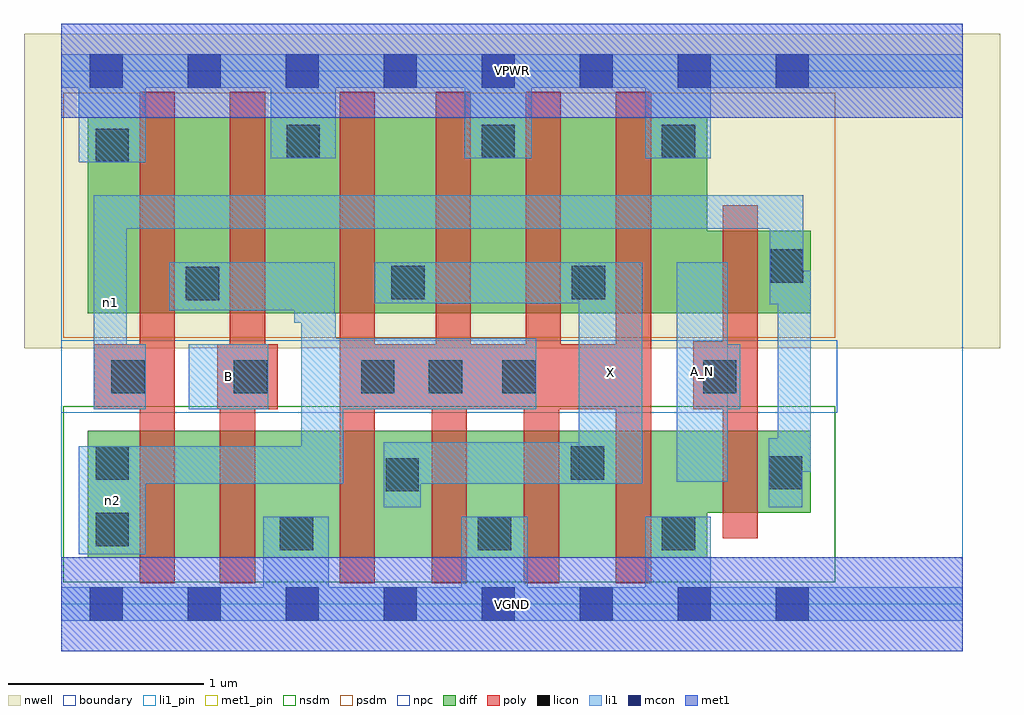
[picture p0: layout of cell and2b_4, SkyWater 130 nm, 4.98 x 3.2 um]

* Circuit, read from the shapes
.subckt and2b_4 A_N B VGND VPWR X n1 n2
XM1 n3 n1 n2 VSUBS sky130_fd_pr__nfet_01v8 w=0.65 l=0.18
XM2 VGND B n3 VSUBS sky130_fd_pr__nfet_01v8 w=0.65 l=0.18
XM3 X n2 VGND VSUBS sky130_fd_pr__nfet_01v8 w=0.65 l=0.18 m=4
XM4 n1 A_N VGND VSUBS sky130_fd_pr__nfet_01v8 w=0.42 l=0.18
XM5 n2 n1 VPWR n4 sky130_fd_pr__pfet_01v8 w=1 l=0.18
XM6 VPWR B n2 n4 sky130_fd_pr__pfet_01v8 w=1 l=0.18
XM7 X n2 VPWR n4 sky130_fd_pr__pfet_01v8 w=1 l=0.18 m=4
XM8 n1 A_N VPWR n4 sky130_fd_pr__pfet_01v8 w=0.42 l=0.18
.ends

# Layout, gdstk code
import gdstk
lib = gdstk.Library(unit=1e-6, precision=1e-09)
def R(c, l, rs):  # rectangles x0, y0, x1, y1
    for r in rs: c.add(gdstk.rectangle(r[:2], r[2:], *l))
def A(c, l, x, y, w, h, nx, ny, dx, dy):  # array of equal rectangles
    R(c, l, [(x+i*dx, y+j*dy, x+i*dx+w, y+j*dy+h) for i in range(nx) for j in range(ny)])
nwell = (64, 20)
diff = (65, 20)
poly = (66, 20)
licon = (66, 44)
li1_pin = (67, 16)
li1 = (67, 20)
mcon = (67, 44)
met1_pin = (68, 16)
met1 = (68, 20)
nsdm = (93, 44)
psdm = (94, 20)
npc = (95, 20)
boundary = (235, 4)

and2b_4 = lib.new_cell('and2b_4')
R(and2b_4, nwell, [(-0.19,1.305,4.79,2.91), (0,1.305,4.6,2.91)])
R(and2b_4, diff, [(0.135,0.235,3.295,0.885), (0.135,0.465,3.825,0.885), (0.135,1.485,3.825,1.905), (0.135,1.485,3.295,2.485)])
R(and2b_4, poly, [(0.4,0.105,0.58,2.615), (0.81,0.105,0.99,1.325), (1.42,0.105,1.6,2.615), (1.89,0.105,2.07,1.325), (2.36,0.105,2.54,1.325), (2.83,0.105,3.01,2.615), (3.375,0.335,3.555,2.035), (0.165,0.995,0.58,1.325), (0.795,0.995,1.105,1.325), (0.86,0.995,1.04,2.615), (1.42,0.995,3.01,1.325), (1.91,0.995,2.09,2.615), (2.37,0.995,2.55,2.615), (3.225,0.995,3.555,1.34)])
R(and2b_4, licon, [(1.115,0.275,1.285,0.445), (2.125,0.275,2.295,0.445), (3.065,0.275,3.235,0.445), (0.175,0.295,0.345,0.465), (1.655,0.575,1.825,0.745), (3.61,0.585,3.78,0.755), (0.175,0.635,0.345,0.805), (2.6,0.635,2.77,0.805), (0.255,1.075,0.425,1.245), (0.88,1.075,1.05,1.245), (1.53,1.075,1.7,1.245), (1.875,1.075,2.045,1.245), (2.25,1.075,2.42,1.245), (3.275,1.075,3.445,1.245), (0.635,1.55,0.805,1.72), (1.685,1.555,1.855,1.725), (2.605,1.555,2.775,1.725), (3.615,1.64,3.785,1.81), (0.175,2.255,0.345,2.425), (1.15,2.275,1.32,2.445), (2.145,2.275,2.315,2.445), (3.065,2.275,3.235,2.445)])
R(and2b_4, li1_pin, [(2.64,0.615,2.965,1.745), (3.14,0.625,3.4,1.745), (0.65,0.995,1.055,1.325)])
R(and2b_4, li1, [(0,-0.085,4.6,0.085), (1.03,-0.085,1.365,0.445), (2.04,-0.085,2.38,0.445), (2.98,-0.085,3.315,0.445), (0.09,0.255,0.43,0.805), (1.645,0.495,1.835,0.825), (3.61,0.495,3.78,0.845), (0.09,0.615,1.44,0.805), (1.225,0.615,1.395,1.745), (1.225,0.615,1.44,1.355), (1.225,0.615,1.4,1.485), (1.645,0.615,2.965,0.825), (2.64,0.615,2.965,1.745), (3.14,0.625,3.4,1.745), (3.655,0.675,3.825,1.7), (0.165,0.995,0.335,2.085), (0.165,0.995,0.43,1.325), (0.65,0.995,1.055,1.325), (1.225,0.995,2.425,1.355), (3.14,0.995,3.465,1.325), (1.19,1.435,1.395,1.5), (0.55,1.5,1.395,1.745), (3.615,1.53,3.785,2.085), (1.6,1.535,2.965,1.745), (0.165,1.915,3.785,2.085), (0.09,2.255,0.43,2.805), (1.07,2.275,1.4,2.805), (2.06,2.275,2.4,2.805), (2.98,2.275,3.315,2.805), (0,2.635,4.6,2.805)])
A(and2b_4, mcon, 0.145, -0.085, 0.17, 0.17, 8, 2, 0.5, 2.72)
R(and2b_4, met1_pin, [(0,-0.24,4.6,0.24), (0,2.48,4.6,2.96)])
R(and2b_4, met1, [(0,-0.24,4.6,0.24), (0,2.48,4.6,2.96)])
R(and2b_4, nsdm, [(0.01,0.11,3.95,1.01)])
R(and2b_4, psdm, [(0.01,1.36,3.95,2.61)])
R(and2b_4, npc, [(0,0.975,3.96,1.345)])
R(and2b_4, boundary, [(0,0,4.6,2.72)])
and2b_4.add(gdstk.Label('A_N', (3.27,1.185), layer=67, texttype=5))
and2b_4.add(gdstk.Label('B', (0.852,1.16), layer=67, texttype=5))
and2b_4.add(gdstk.Label('X', (2.802,1.18), layer=67, texttype=5))
and2b_4.add(gdstk.Label('n2', (0.26,0.53), layer=67, texttype=5))
and2b_4.add(gdstk.Label('n1', (0.25,1.54), layer=67, texttype=5))
and2b_4.add(gdstk.Label('VPWR', (2.3,2.72), layer=68, texttype=5))
and2b_4.add(gdstk.Label('VGND', (2.3,0), layer=68, texttype=5))
and2b_4.add(gdstk.Label('A_N', (3.27,1.185), layer=67, texttype=16))
and2b_4.add(gdstk.Label('B', (0.852,1.16), layer=67, texttype=16))
and2b_4.add(gdstk.Label('X', (2.802,1.18), layer=67, texttype=16))
and2b_4.add(gdstk.Label('VPWR', (2.3,2.72), layer=68, texttype=16))
and2b_4.add(gdstk.Label('VGND', (2.3,0), layer=68, texttype=16))

lib.write_gds('and2b_4.gds')
